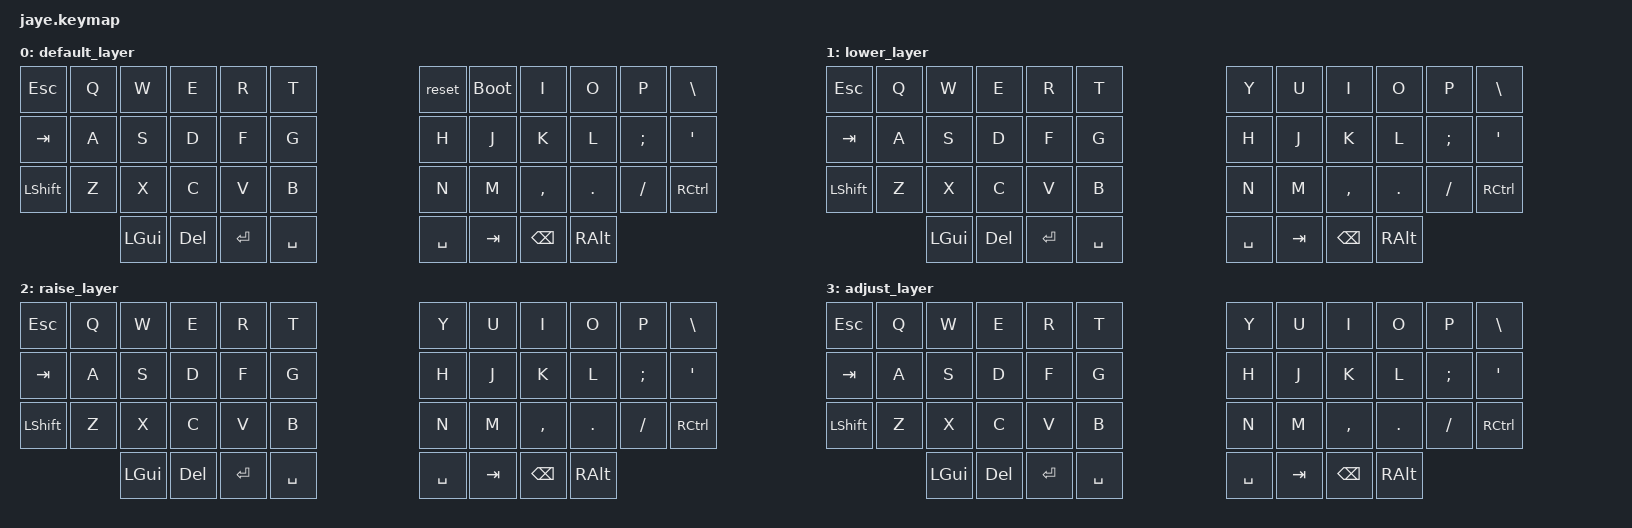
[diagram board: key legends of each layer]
#include <behaviors.dtsi>
#include <dt-bindings/zmk/keys.h>
#include <dt-bindings/zmk/bt.h>


#define DEF 0
#define LWR 1
#define RSE 2
#define ADJ 3

/ {
    keymap {
        compatible = "zmk,keymap";

        default_layer {

// |   ESC   |    Q    |    W    |    E    |    R    |    T    |                                          |    Y    |    U    |    I    |    O    |    P    |    \    |
// |   TAB   |    A    |    S    |    D    |    F    |    G    |                                          |    H    |    J    |    K    |    L    |    ;    |    '    |
// |   GUI   |    Z    |    X    |    C    |    V    |    B    |                                          |    N    |    M    |    ,    |    .    |    /    |  R CTRL |
//                     |   GUI   |   DEL   | RETURN  |  SPACE  |                                          |  SHIFT  |   ENTER   |   BSPC  |  R ALT  |

            bindings = <
    &kp ESC    &kp Q    &kp W    &kp E     &kp R     &kp T                                                 &reset &bootloader  &kp I     &kp O     &kp P    &kp BSLH
    &kp TAB    &kp A    &kp S    &kp D     &kp F     &kp G                                                 &kp H     &kp J     &kp K     &kp L     &kp SEMI &kp SQT
    &kp LSHIFT &kp Z    &kp X    &kp C     &kp V     &kp B                                                 &kp N     &kp M     &kp COMMA &kp DOT   &kp FSLH &kp RCTRL
                      &kp LGUI  &kp DEL   &kp RET    &kp SPACE                                             &kp SPACE &kp TAB   &kp BSPC  &kp RALT
            >;

            
        };
    };
};

{
    keymap {
        compatible = "zmk,keymap";

        lower_layer {

            bindings = <
    &kp ESC    &kp Q    &kp W    &kp E     &kp R     &kp T                                                 &kp Y     &kp U     &kp I     &kp O     &kp P    &kp BSLH
    &kp TAB    &kp A    &kp S    &kp D     &kp F     &kp G                                                 &kp H     &kp J     &kp K     &kp L     &kp SEMI &kp SQT
    &kp LSHIFT &kp Z    &kp X    &kp C     &kp V     &kp B                                                 &kp N     &kp M     &kp COMMA &kp DOT   &kp FSLH &kp RCTRL
                      &kp LGUI  &kp DEL   &kp RET    &kp SPACE                                             &kp SPACE &kp TAB   &kp BSPC  &kp RALT
            >;

            
        };
    };
};

{
    keymap {
        compatible = "zmk,keymap";

        raise_layer {

            bindings = <
    &kp ESC    &kp Q    &kp W    &kp E     &kp R     &kp T                                                 &kp Y     &kp U     &kp I     &kp O     &kp P    &kp BSLH
    &kp TAB    &kp A    &kp S    &kp D     &kp F     &kp G                                                 &kp H     &kp J     &kp K     &kp L     &kp SEMI &kp SQT
    &kp LSHIFT &kp Z    &kp X    &kp C     &kp V     &kp B                                                 &kp N     &kp M     &kp COMMA &kp DOT   &kp FSLH &kp RCTRL
                      &kp LGUI  &kp DEL   &kp RET    &kp SPACE                                             &kp SPACE &kp TAB   &kp BSPC  &kp RALT
            >;

            
        };
    };
};

{
    keymap {
        compatible = "zmk,keymap";

        adjust_layer {

            bindings = <
    &kp ESC    &kp Q    &kp W    &kp E     &kp R     &kp T                                                 &kp Y     &kp U     &kp I     &kp O     &kp P    &kp BSLH
    &kp TAB    &kp A    &kp S    &kp D     &kp F     &kp G                                                 &kp H     &kp J     &kp K     &kp L     &kp SEMI &kp SQT
    &kp LSHIFT &kp Z    &kp X    &kp C     &kp V     &kp B                                                 &kp N     &kp M     &kp COMMA &kp DOT   &kp FSLH &kp RCTRL
                      &kp LGUI  &kp DEL   &kp RET    &kp SPACE                                             &kp SPACE &kp TAB   &kp BSPC  &kp RALT
            >;

            
        };
    };
};


